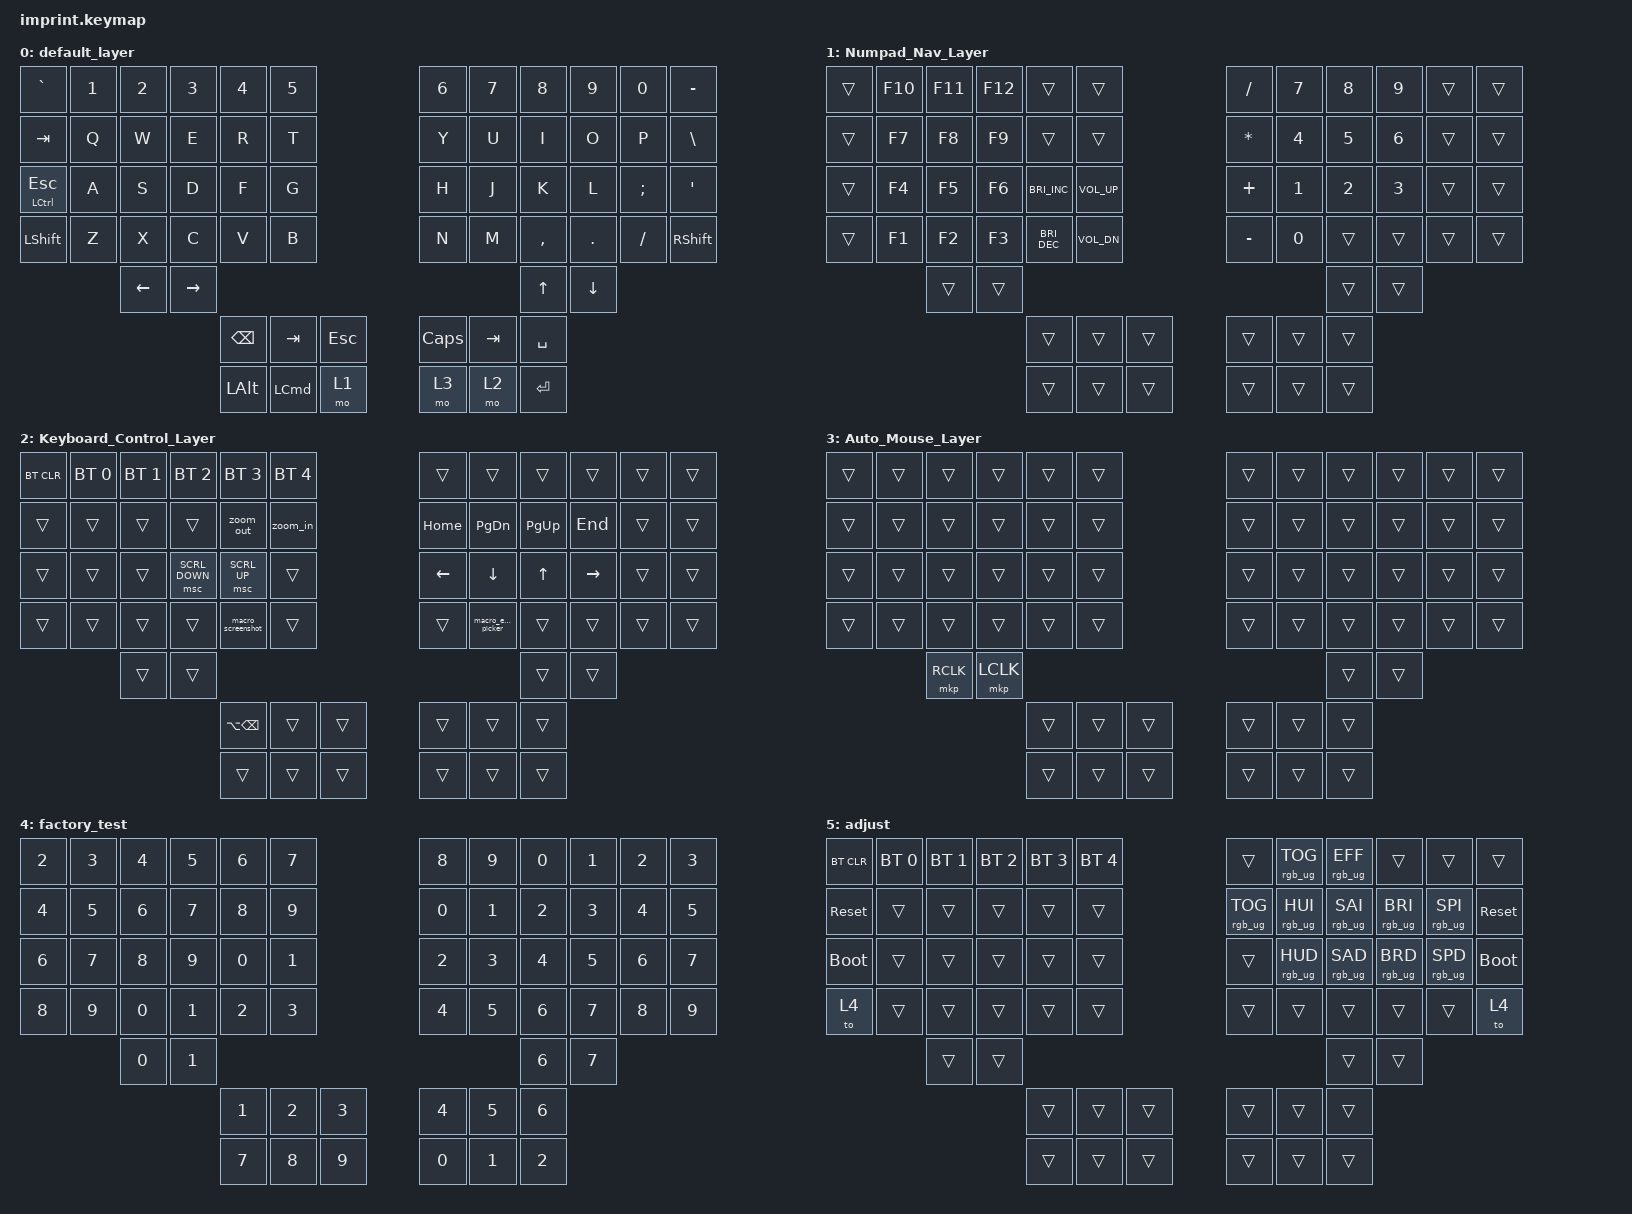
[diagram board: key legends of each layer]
#include <input/processors.dtsi>
#include <dt-bindings/zmk/input_transform.h>
#include <behaviors.dtsi>
#include <dt-bindings/zmk/bt.h>
#include <dt-bindings/zmk/keys.h>
#include <dt-bindings/zmk/pointing.h>
#include <dt-bindings/zmk/rgb.h>

/ {
    chosen { zmk,matrix-transform = &imprint_number_row; };

    behaviors {
        macro_emoji_picker: macro_emoji_picker {
            compatible = "zmk,behavior-macro";
            label = "macro_emoji_picker";
            #binding-cells = <0>;
            bindings = <&kp LC(LG(SPACE))>;
        };

        macro_screenshot: macro_screenshot {
            compatible = "zmk,behavior-macro";
            #binding-cells = <0>;
            bindings = <&kp LG(LC(LS(NUMBER_4)))>;
            label = "MACRO_SCREENSHOT";
        };

        zoom_in: zoom_in {
            compatible = "zmk,behavior-macro";
            #binding-cells = <0>;
            bindings = <&kp LG(PLUS)>;
            label = "ZOOM_IN";
        };

        zoom_out: zoom_out {
            compatible = "zmk,behavior-macro";
            #binding-cells = <0>;
            bindings = <&kp LG(MINUS)>;
            label = "ZOOM_OUT";
        };

        lth: layer_tap {
            compatible = "zmk,behavior-hold-tap";
            #binding-cells = <2>;
            flavor = "tap-preferred";
            tapping-term-ms = <140>;
            bindings = <&mo>, <&kp>;

            display-name = "Layer-Tap-Hold";
            quick-tap-ms = <150>;
        };
    };

    combos {
        compatible = "zmk,combos";

        vim_esc {
            bindings = <&kp ESCAPE>;
            key-positions = <31 32>;
        };

        caps_lock {
            bindings = <&kp CAPS>;
            key-positions = <36 47>;
        };

        equal {
            bindings = <&kp EQUAL>;
            key-positions = <19 20>;
        };

        left-bracket {
            bindings = <&kp LEFT_BRACKET>;
            key-positions = <16 17>;
        };

        right-bracket {
            bindings = <&kp RIGHT_BRACKET>;
            key-positions = <18 19>;
        };

        left-brace {
            bindings = <&kp LEFT_BRACE>;
            key-positions = <28 29>;
        };

        right-brace {
            bindings = <&kp RIGHT_BRACE>;
            key-positions = <30 31>;
        };

        left-parenthesis {
            bindings = <&kp LEFT_PARENTHESIS>;
            key-positions = <40 41>;
        };

        right-parenthesis {
            bindings = <&kp RIGHT_PARENTHESIS>;
            key-positions = <42 43>;
        };

        mouse_middle_click {
            bindings = <&mkp MCLK>;
            key-positions = <48 49>;
            layers = <3>;
        };

        plus {
            bindings = <&kp PLUS>;
            key-positions = <43 44>;
        };
    };

    macros {
    };

    keymap {
        compatible = "zmk,keymap";

        default_layer {
            bindings = <
&kp GRAVE         &kp N1  &kp N2    &kp N3     &kp N4        &kp N5                       &kp N6    &kp N7   &kp N8         &kp N9          &kp N0    &kp MINUS
&kp TAB           &kp Q   &kp W     &kp E      &kp R         &kp T                        &kp Y     &kp U    &kp I          &kp O           &kp P     &kp BSLH
&mt LCTRL ESCAPE  &kp A   &kp S     &kp D      &kp F         &kp G                        &kp H     &kp J    &kp K          &kp L           &kp SEMI  &kp SQT
&kp LSHFT         &kp Z   &kp X     &kp C      &kp V         &kp B                        &kp N     &kp M    &kp COMMA      &kp DOT         &kp FSLH  &kp RSHFT
                          &kp LEFT  &kp RIGHT                                                                &kp UP_ARROW   &kp DOWN_ARROW
                                               &kp BACKSPACE &kp TAB           &kp ESC    &kp CAPS  &kp TAB  &kp SPACE
                                               &kp LEFT_ALT  &kp LEFT_COMMAND  &mo 1      &mo 3     &mo 2    &kp RET
            >;
        };

        Numpad_Nav_Layer {
            bindings = <
&trans  &kp F10  &kp F11  &kp F12  &trans                &trans                  &kp FSLH      &kp N7  &kp N8  &kp N9  &trans  &trans
&trans  &kp F7   &kp F8   &kp F9   &trans                &trans                  &kp ASTERISK  &kp N4  &kp N5  &kp N6  &trans  &trans
&trans  &kp F4   &kp F5   &kp F6   &kp C_BRIGHTNESS_INC  &kp C_VOL_UP            &kp PLUS      &kp N1  &kp N2  &kp N3  &trans  &trans
&trans  &kp F1   &kp F2   &kp F3   &kp C_BRIGHTNESS_DEC  &kp C_VOL_DN            &kp MINUS     &kp N0  &trans  &trans  &trans  &trans
                 &trans   &trans                                                                       &trans  &trans
                                   &trans                &trans        &trans    &trans        &trans  &trans
                                   &trans                &trans        &trans    &trans        &trans  &trans
            >;
        };

        Keyboard_Control_Layer {
            bindings = <
&bt BT_CLR  &bt BT_SEL 0  &bt BT_SEL 1  &bt BT_SEL 2    &bt BT_SEL 3       &bt BT_SEL 4            &trans          &trans               &trans        &trans     &trans  &trans
&trans      &trans        &trans        &trans          &zoom_out          &zoom_in                &kp HOME        &kp PAGE_DOWN        &kp PAGE_UP   &kp END    &trans  &trans
&trans      &trans        &trans        &msc SCRL_DOWN  &msc SCRL_UP       &trans                  &kp LEFT_ARROW  &kp DOWN             &kp UP_ARROW  &kp RIGHT  &trans  &trans
&trans      &trans        &trans        &trans          &macro_screenshot  &trans                  &trans          &macro_emoji_picker  &trans        &trans     &trans  &trans
                          &trans        &trans                                                                                          &trans        &trans
                                                        &kp LA(BSPC)       &trans        &trans    &trans          &trans               &trans
                                                        &trans             &trans        &trans    &trans          &trans               &trans
            >;
        };

        Auto_Mouse_Layer {
            bindings = <
&trans  &trans  &trans     &trans     &trans  &trans            &trans  &trans  &trans  &trans  &trans  &trans
&trans  &trans  &trans     &trans     &trans  &trans            &trans  &trans  &trans  &trans  &trans  &trans
&trans  &trans  &trans     &trans     &trans  &trans            &trans  &trans  &trans  &trans  &trans  &trans
&trans  &trans  &trans     &trans     &trans  &trans            &trans  &trans  &trans  &trans  &trans  &trans
                &mkp RCLK  &mkp LCLK                                            &trans  &trans
                                      &trans  &trans  &trans    &trans  &trans  &trans
                                      &trans  &trans  &trans    &trans  &trans  &trans
            >;
        };

        factory_test {
            bindings = <
&kp N2  &kp N3  &kp N4  &kp N5  &kp N6  &kp N7            &kp N8  &kp N9  &kp N0  &kp N1  &kp N2  &kp N3
&kp N4  &kp N5  &kp N6  &kp N7  &kp N8  &kp N9            &kp N0  &kp N1  &kp N2  &kp N3  &kp N4  &kp N5
&kp N6  &kp N7  &kp N8  &kp N9  &kp N0  &kp N1            &kp N2  &kp N3  &kp N4  &kp N5  &kp N6  &kp N7
&kp N8  &kp N9  &kp N0  &kp N1  &kp N2  &kp N3            &kp N4  &kp N5  &kp N6  &kp N7  &kp N8  &kp N9
                &kp N0  &kp N1                                            &kp N6  &kp N7
                                &kp N1  &kp N2  &kp N3    &kp N4  &kp N5  &kp N6
                                &kp N7  &kp N8  &kp N9    &kp N0  &kp N1  &kp N2
            >;
        };

        adjust {
            bindings = <
&bt BT_CLR   &bt BT_SEL 0  &bt BT_SEL 1  &bt BT_SEL 2  &bt BT_SEL 3  &bt BT_SEL 4            &trans           &rgb_ug RGB_TOG  &rgb_ug RGB_EFF  &trans           &trans           &trans
&sys_reset   &trans        &trans        &trans        &trans        &trans                  &rgb_ug RGB_TOG  &rgb_ug RGB_HUI  &rgb_ug RGB_SAI  &rgb_ug RGB_BRI  &rgb_ug RGB_SPI  &sys_reset
&bootloader  &trans        &trans        &trans        &trans        &trans                  &trans           &rgb_ug RGB_HUD  &rgb_ug RGB_SAD  &rgb_ug RGB_BRD  &rgb_ug RGB_SPD  &bootloader
&to 4        &trans        &trans        &trans        &trans        &trans                  &trans           &trans           &trans           &trans           &trans           &to 4
                           &trans        &trans                                                                                &trans           &trans
                                                       &trans        &trans        &trans    &trans           &trans           &trans
                                                       &trans        &trans        &trans    &trans           &trans           &trans
            >;
        };
    };

    conditional_layers {
        compatible = "zmk,conditional-layers";

        adjust {
            if-layers = <1 2>;
            then-layer = <5>;
        };
    };
};

// right hand trackball configuration

&trackball_peripheral_listener {
    input-processors =
        // activate layer 3 within 500ms of the trackball moving,,,,,,,,,,
        <&zip_temp_layer 3 500>;
};

//left hand trackball configuration

&trackball_central_listener {
    input-processors =
        // multiply sensitivity by 1, divide by 3 (make it slower for scrolling),,,,,,,,,,,,,,,,,,,,
        <&zip_xy_scaler 1 7>,
        // make this trackball output scrolling events by default instead of cursor movement,,,,,,,,,,,,,,,,,,,,
        <&zip_xy_to_scroll_mapper>,
        // invert vertical scrolling so that the view moves in the same direction as the top of the trackball.,,,,,,,,,,,,,,,,,,,,
        <&zip_scroll_transform INPUT_TRANSFORM_Y_INVERT>;
};
